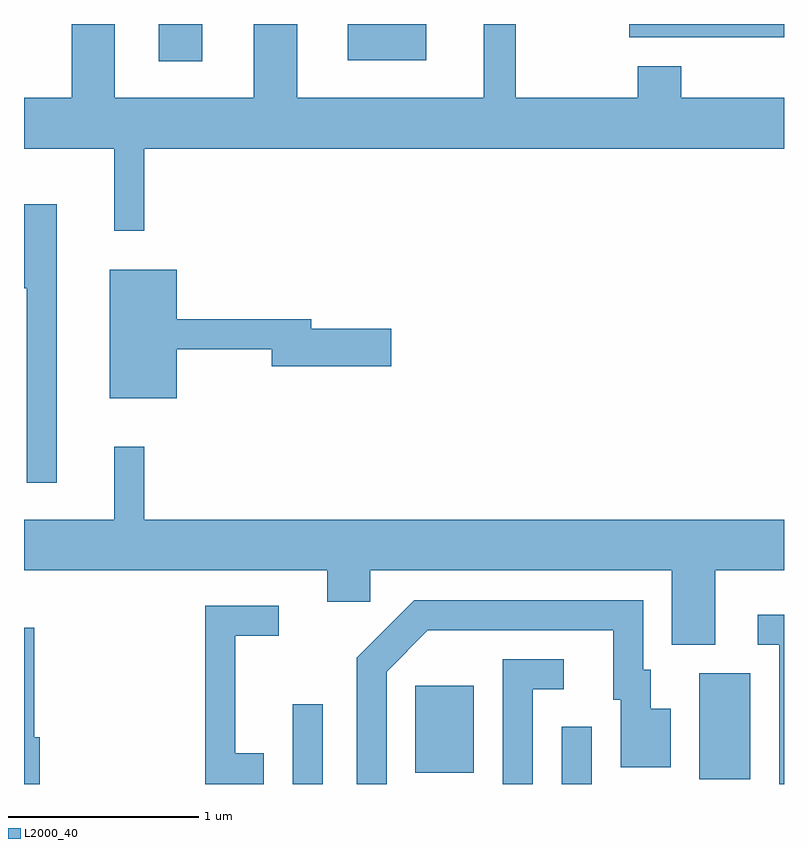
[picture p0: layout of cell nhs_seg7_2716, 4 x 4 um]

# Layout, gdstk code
import gdstk
lib = gdstk.Library(unit=1e-6, precision=1e-09)
def R(c, l, rs):  # rectangles x0, y0, x1, y1
    for r in rs: c.add(gdstk.rectangle(r[:2], r[2:], *l))
def P(c, l, *ps):  # polygons
    for p in ps: c.add(gdstk.Polygon(p, *l))
L2000_40 = (2000, 40)

nhs_seg7_2716 = lib.new_cell('nhs_seg7_2716')
R(nhs_seg7_2716, L2000_40, [(269.026,1764.252,269.184,1764.673), (270.441,1764.252,270.599,1764.553), (271.166,1764.276,271.434,1764.834), (269.671,1764.311,269.979,1764.769), (268.321,1768.056,268.549,1768.252), (269.316,1768.061,269.729,1768.252), (270.796,1768.181,271.611,1768.252)])
P(nhs_seg7_2716, L2000_40, [(268.244,1767.596),(271.611,1767.596),(271.611,1767.864),(271.069,1767.864),(271.069,1768.029),(270.841,1768.029),(270.841,1767.864),(270.199,1767.864),(270.199,1768.252),(270.031,1768.252),(270.031,1767.864),(269.049,1767.864),(269.049,1768.252),(268.821,1768.252),(268.821,1767.864),(268.089,1767.864),(268.089,1768.252),(267.861,1768.252),(267.861,1767.864),(267.611,1767.864),(267.611,1767.596),(268.086,1767.596),(268.086,1767.163),(268.244,1767.163)],
  [(267.784,1767.304),(267.611,1767.304),(267.611,1766.861),(267.626,1766.861),(267.626,1765.838),(267.784,1765.838)],
  [(268.414,1766.541),(268.916,1766.541),(268.916,1766.451),(269.544,1766.451),(269.544,1766.649),(269.124,1766.649),(269.124,1766.699),(268.414,1766.699),(268.414,1766.959),(268.061,1766.959),(268.061,1766.281),(268.414,1766.281)],
  [(271.249,1765.376),(271.611,1765.376),(271.611,1765.644),(268.244,1765.644),(268.244,1766.028),(268.086,1766.028),(268.086,1765.644),(267.611,1765.644),(267.611,1765.376),(269.206,1765.376),(269.206,1765.211),(269.434,1765.211),(269.434,1765.376),(271.021,1765.376),(271.021,1764.986),(271.249,1764.986)],
  [(269.519,1764.844),(269.737,1765.061),(270.711,1765.061),(270.711,1764.696),(270.751,1764.696),(270.751,1764.341),(271.014,1764.341),(271.014,1764.649),(270.909,1764.649),(270.909,1764.854),(270.869,1764.854),(270.869,1765.219),(269.664,1765.219),(269.361,1764.917),(269.361,1764.252),(269.519,1764.252)],
  [(268.874,1764.414),(268.724,1764.414),(268.724,1765.031),(268.953,1765.031),(268.953,1765.189),(268.566,1765.189),(268.566,1764.252),(268.874,1764.252)],
  [(271.611,1765.144),(271.473,1765.144),(271.473,1764.986),(271.586,1764.986),(271.586,1764.252),(271.611,1764.252)],
  [(267.694,1764.499),(267.664,1764.499),(267.664,1765.074),(267.611,1765.074),(267.611,1764.252),(267.694,1764.252)],
  [(270.289,1764.751),(270.453,1764.751),(270.453,1764.909),(270.131,1764.909),(270.131,1764.252),(270.289,1764.252)])

lib.write_gds('nhs_seg7_2716.gds')
